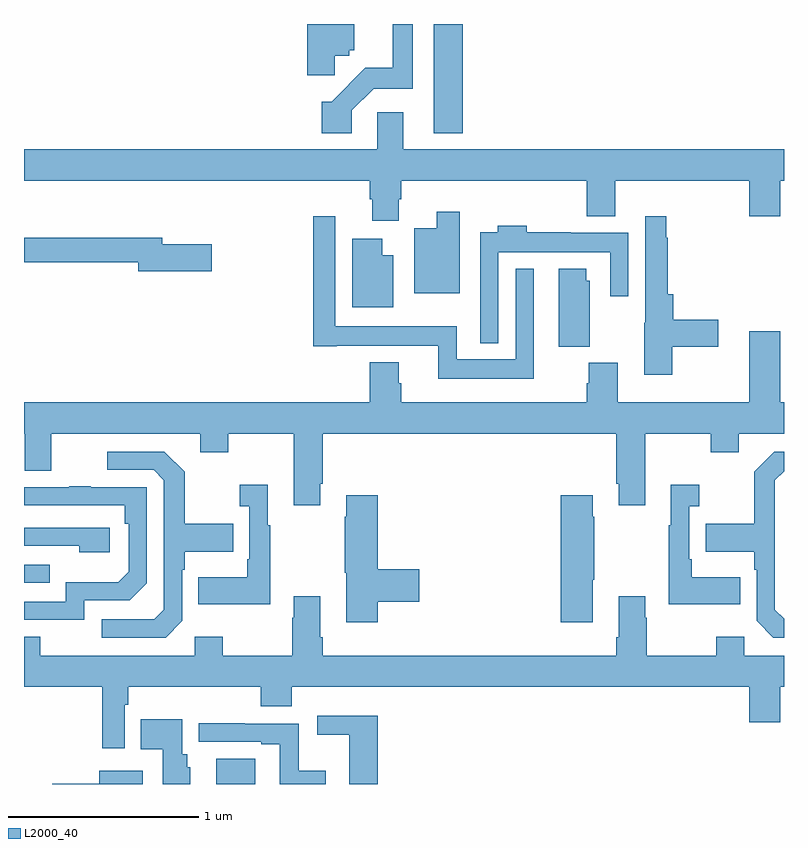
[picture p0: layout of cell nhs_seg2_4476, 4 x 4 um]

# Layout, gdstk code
import gdstk
lib = gdstk.Library(unit=1e-6, precision=1e-09)
def R(c, l, rs):  # rectangles x0, y0, x1, y1
    for r in rs: c.add(gdstk.rectangle(r[:2], r[2:], *l))
def P(c, l, *ps):  # polygons
    for p in ps: c.add(gdstk.Polygon(p, *l))
L2000_40 = (2000, 40)

nhs_seg2_4476 = lib.new_cell('nhs_seg2_4476')
R(nhs_seg2_4476, L2000_40, [(354.011,637.8,354.217,637.933), (353,638.859,353.135,638.955), (355.157,641.225,355.31,641.8)])
P(nhs_seg2_4476, L2000_40, [(354.635,641.634),(354.711,641.634),(354.711,641.661),(354.739,641.661),(354.739,641.8),(354.491,641.8),(354.491,641.529),(354.635,641.529)],
  [(354.726,641.346),(354.84,641.46),(355.045,641.46),(355.045,641.8),(354.941,641.8),(354.941,641.57),(354.797,641.57),(354.619,641.392),(354.566,641.392),(354.566,641.226),(354.726,641.226)],
  [(354.973,640.878),(354.986,640.878),(354.986,640.976),(355.961,640.976),(355.961,640.787),(356.113,640.787),(356.113,640.976),(356.816,640.976),(356.816,640.788),(356.98,640.788),(356.98,640.976),(357,640.976),(357,641.14),(354.997,641.14),(354.997,641.335),(354.858,641.335),(354.858,641.14),(353,641.14),(353,640.976),(354.821,640.976),(354.821,640.878),(354.833,640.878),(354.833,640.764),(354.973,640.764)],
  [(355.294,640.813),(355.172,640.813),(355.172,640.726),(355.055,640.726),(355.055,640.382),(355.294,640.382)],
  [(355.684,640.513),(355.587,640.513),(355.587,640.036),(355.278,640.036),(355.278,640.21),(354.639,640.21),(354.639,640.789),(354.523,640.789),(354.523,640.104),(354.646,640.104),(354.646,640.106),(355.181,640.106),(355.181,639.932),(355.684,639.932)],
  [(356.412,640.102),(356.653,640.102),(356.653,640.244),(356.417,640.244),(356.417,640.378),(356.387,640.378),(356.387,640.676),(356.38,640.676),(356.38,640.789),(356.271,640.789),(356.271,640.227),(356.264,640.227),(356.264,639.954),(356.412,639.954)],
  [(355.497,640.598),(356.085,640.598),(356.085,640.368),(356.181,640.368),(356.181,640.702),(355.877,640.702),(355.877,640.705),(355.646,640.705),(355.646,640.738),(355.493,640.738),(355.493,640.705),(355.401,640.705),(355.401,640.121),(355.497,640.121)],
  [(353.989,640.641),(353.728,640.641),(353.728,640.675),(353,640.675),(353,640.546),(353.6,640.546),(353.6,640.499),(353.989,640.499)],
  [(354.943,640.582),(354.886,640.582),(354.886,640.669),(354.728,640.669),(354.728,640.31),(354.943,640.31)],
  [(355.978,640.449),(355.96,640.449),(355.96,640.513),(355.814,640.513),(355.814,640.102),(355.978,640.102)],
  [(354.559,639.379),(354.572,639.379),(354.572,639.644),(356.117,639.644),(356.117,639.379),(356.129,639.379),(356.129,639.267),(356.269,639.267),(356.269,639.644),(356.614,639.644),(356.614,639.545),(356.761,639.545),(356.761,639.644),(357,639.644),(357,639.808),(356.98,639.808),(356.98,640.183),(356.816,640.183),(356.816,639.808),(356.126,639.808),(356.126,640.017),(355.973,640.017),(355.973,639.908),(355.961,639.908),(355.961,639.808),(354.986,639.808),(354.986,639.909),(354.973,639.909),(354.973,640.021),(354.821,640.021),(354.821,639.808),(353,639.808),(353,639.644),(353.003,639.644),(353.003,639.45),(353.143,639.45),(353.143,639.644),(353.927,639.644),(353.927,639.545),(354.075,639.545),(354.075,639.644),(354.419,639.644),(354.419,639.267),(354.559,639.267)],
  [(353.832,638.658),(353.832,638.927),(353.845,638.927),(353.845,639.023),(354.101,639.023),(354.101,639.171),(353.845,639.171),(353.845,639.443),(353.739,639.549),(353.439,639.549),(353.439,639.453),(353.682,639.453),(353.736,639.399),(353.736,638.718),(353.685,638.667),(353.409,638.667),(353.409,638.571),(353.745,638.571)],
  [(357,638.67),(356.952,638.718),(356.952,639.399),(357,639.447),(357,639.549),(356.949,639.549),(356.844,639.443),(356.844,639.171),(356.587,639.171),(356.587,639.023),(356.844,639.023),(356.844,638.927),(356.856,638.927),(356.856,638.658),(356.943,638.571),(357,638.571)],
  [(356.771,638.887),(356.515,638.887),(356.515,638.983),(356.502,638.983),(356.502,639.263),(356.554,639.263),(356.554,639.376),(356.405,639.376),(356.405,639.163),(356.394,639.163),(356.394,638.747),(356.771,638.747)],
  [(354.295,639.163),(354.283,639.163),(354.283,639.376),(354.135,639.376),(354.135,639.263),(354.186,639.263),(354.186,638.983),(354.174,638.983),(354.174,638.887),(353.917,638.887),(353.917,638.747),(354.295,638.747)],
  [(353.316,638.766),(353.556,638.766),(353.646,638.856),(353.646,639.363),(353.351,639.363),(353.351,639.368),(353.239,639.368),(353.239,639.363),(353,639.363),(353,639.267),(353.53,639.267),(353.53,639.17),(353.55,639.17),(353.55,638.916),(353.497,638.863),(353.22,638.863),(353.22,638.76),(353,638.76),(353,638.664),(353.316,638.664)],
  [(355.993,638.875),(356.001,638.875),(356.001,639.206),(355.993,639.206),(355.993,639.319),(355.826,639.319),(355.826,638.652),(355.993,638.652)],
  [(354.863,638.759),(355.081,638.759),(355.081,638.93),(354.863,638.93),(354.863,639.319),(354.695,639.319),(354.695,639.206),(354.688,639.206),(354.688,638.913),(354.695,638.913),(354.695,638.652),(354.863,638.652)],
  [(353.452,639.15),(353,639.15),(353,639.054),(353.291,639.054),(353.291,639.02),(353.452,639.02)],
  [(353.529,638.216),(353.549,638.216),(353.549,638.312),(354.245,638.312),(354.245,638.21),(354.41,638.21),(354.41,638.312),(356.816,638.312),(356.816,638.124),(356.98,638.124),(356.98,638.312),(357,638.312),(357,638.476),(356.79,638.476),(356.79,638.575),(356.644,638.575),(356.644,638.476),(356.277,638.476),(356.277,638.675),(356.269,638.675),(356.269,638.788),(356.129,638.788),(356.129,638.572),(356.117,638.572),(356.117,638.476),(354.572,638.476),(354.572,638.572),(354.559,638.572),(354.559,638.788),(354.419,638.788),(354.419,638.675),(354.412,638.675),(354.412,638.476),(354.045,638.476),(354.045,638.575),(353.898,638.575),(353.898,638.476),(353.085,638.476),(353.085,638.575),(353,638.575),(353,638.312),(353.413,638.312),(353.413,637.989),(353.529,637.989)],
  [(354.863,638.158),(354.543,638.158),(354.543,638.06),(354.713,638.06),(354.713,637.8),(354.863,637.8)],
  [(353.875,637.887),(353.86,637.887),(353.86,637.956),(353.833,637.956),(353.833,638.14),(353.614,638.14),(353.614,637.982),(353.729,637.982),(353.729,637.8),(353.875,637.8)],
  [(354.589,637.87),(354.446,637.87),(354.446,638.118),(354.161,638.118),(354.161,638.12),(353.919,638.12),(353.919,638.022),(354.248,638.022),(354.248,638.01),(354.345,638.01),(354.345,637.8),(354.589,637.8)],
  [(353.626,637.87),(353.396,637.87),(353.396,637.802),(353.148,637.802),(353.148,637.8),(353.626,637.8)])

lib.write_gds('nhs_seg2_4476.gds')
